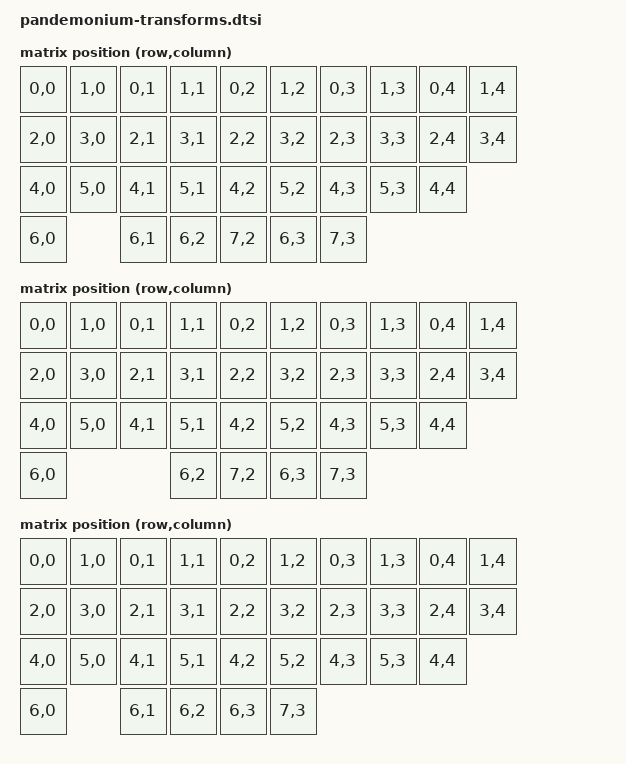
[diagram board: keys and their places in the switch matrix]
/*
 * Copyright (c) 2024 The ZMK Contributors
 *
 * SPDX-License-Identifier: MIT
 */

#include <dt-bindings/zmk/matrix_transform.h>

/ {
    chosen {
        zmk,matrix-transform = &default_transform;
    };

    default_transform: default_transform {
        compatible = "zmk,matrix-transform";
        columns = <5>;
        rows = <8>;
        map = <
    RC(0,0) RC(1,0) RC(0,1) RC(1,1) RC(0,2) RC(1,2) RC(0,3) RC(1,3) RC(0,4) RC(1,4)
    RC(2,0) RC(3,0) RC(2,1) RC(3,1) RC(2,2) RC(3,2) RC(2,3) RC(3,3) RC(2,4) RC(3,4)
    RC(4,0) RC(5,0) RC(4,1) RC(5,1) RC(4,2) RC(5,2) RC(4,3) RC(5,3) RC(4,4)
    RC(6,0)         RC(6,1) RC(6,2) RC(7,2) RC(6,3) RC(7,3)
        >;
    };

    three_one_175u_125u_transform: three_one_175u_125u_transform {
        compatible = "zmk,matrix-transform";
        columns = <5>;
        rows = <8>;
        map = <
    RC(0,0) RC(1,0) RC(0,1) RC(1,1) RC(0,2) RC(1,2) RC(0,3) RC(1,3) RC(0,4) RC(1,4)
    RC(2,0) RC(3,0) RC(2,1) RC(3,1) RC(2,2) RC(3,2) RC(2,3) RC(3,3) RC(2,4) RC(3,4)
    RC(4,0) RC(5,0) RC(4,1) RC(5,1) RC(4,2) RC(5,2) RC(4,3) RC(5,3) RC(4,4)
    RC(6,0)                 RC(6,2) RC(7,2) RC(6,3) RC(7,3)
        >;
    };

    one_three_175u_125u_transform: one_three_175u_125u_transform {
        compatible = "zmk,matrix-transform";
        columns = <5>;
        rows = <8>;
        map = <
    RC(0,0) RC(1,0) RC(0,1) RC(1,1) RC(0,2) RC(1,2) RC(0,3) RC(1,3) RC(0,4) RC(1,4)
    RC(2,0) RC(3,0) RC(2,1) RC(3,1) RC(2,2) RC(3,2) RC(2,3) RC(3,3) RC(2,4) RC(3,4)
    RC(4,0) RC(5,0) RC(4,1) RC(5,1) RC(4,2) RC(5,2) RC(4,3) RC(5,3) RC(4,4)
    RC(6,0)         RC(6,1) RC(6,2) RC(6,3) RC(7,3)
        >;
    };

    four_key_symmetric_split_transform: four_key_symmetric_split_transform {
        compatible = "zmk,matrix-transform";
        columns = <5>;
        rows = <8>;
        map = <
    RC(0,0) RC(1,0) RC(0,1) RC(1,1) RC(0,2) RC(1,2) RC(0,3) RC(1,3) RC(0,4) RC(1,4)
    RC(2,0) RC(3,0) RC(2,1) RC(3,1) RC(2,2) RC(3,2) RC(2,3) RC(3,3) RC(2,4) RC(3,4)
    RC(4,0) RC(5,0) RC(4,1) RC(5,1) RC(4,2) RC(5,2) RC(4,3) RC(5,3) RC(4,4)
    RC(6,0)         RC(6,1) RC(6,2)         RC(6,3) RC(7,3)
        >;
    };

    three_one_three_transform: three_one_three_transform {
        compatible = "zmk,matrix-transform";
        columns = <5>;
        rows = <8>;
        map = <
    RC(0,0) RC(1,0) RC(0,1) RC(1,1) RC(0,2) RC(1,2) RC(0,3) RC(1,3) RC(0,4) RC(1,4)
    RC(2,0) RC(3,0) RC(2,1) RC(3,1) RC(2,2) RC(3,2) RC(2,3) RC(3,3) RC(2,4) RC(3,4)
    RC(4,0) RC(5,0) RC(4,1) RC(5,1) RC(4,2) RC(5,2) RC(4,3) RC(5,3) RC(4,4)
    RC(6,0)                 RC(6,2) RC(7,2)         RC(7,3)
        >;
    };

    one_three_three_transform: one_three_three_transform {
        compatible = "zmk,matrix-transform";
        columns = <5>;
        rows = <8>;
        map = <
    RC(0,0) RC(1,0) RC(0,1) RC(1,1) RC(0,2) RC(1,2) RC(0,3) RC(1,3) RC(0,4) RC(1,4)
    RC(2,0) RC(3,0) RC(2,1) RC(3,1) RC(2,2) RC(3,2) RC(2,3) RC(3,3) RC(2,4) RC(3,4)
    RC(4,0) RC(5,0) RC(4,1) RC(5,1) RC(4,2) RC(5,2) RC(4,3) RC(5,3) RC(4,4)
    RC(6,0)         RC(6,1) RC(6,2)         RC(6,3)
        >;
    };

    one_six_transform: one_six_transform {
        compatible = "zmk,matrix-transform";
        columns = <5>;
        rows = <8>;
        map = <
    RC(0,0) RC(1,0) RC(0,1) RC(1,1) RC(0,2) RC(1,2) RC(0,3) RC(1,3) RC(0,4) RC(1,4)
    RC(2,0) RC(3,0) RC(2,1) RC(3,1) RC(2,2) RC(3,2) RC(2,3) RC(3,3) RC(2,4) RC(3,4)
    RC(4,0) RC(5,0) RC(4,1) RC(5,1) RC(4,2) RC(5,2) RC(4,3) RC(5,3) RC(4,4)
    RC(6,0)         RC(6,1)         RC(7,2)
        >;
    };

    bigbar_transform: bigbar_transform {
        compatible = "zmk,matrix-transform";
        columns = <5>;
        rows = <8>;
        map = <
    RC(0,0) RC(1,0) RC(0,1) RC(1,1) RC(0,2) RC(1,2) RC(0,3) RC(1,3) RC(0,4) RC(1,4)
    RC(2,0) RC(3,0) RC(2,1) RC(3,1) RC(2,2) RC(3,2) RC(2,3) RC(3,3) RC(2,4) RC(3,4)
    RC(4,0) RC(5,0) RC(4,1) RC(5,1) RC(4,2) RC(5,2) RC(4,3) RC(5,3) RC(4,4)
    RC(6,0)                         RC(7,2)
        >;
    };
};
